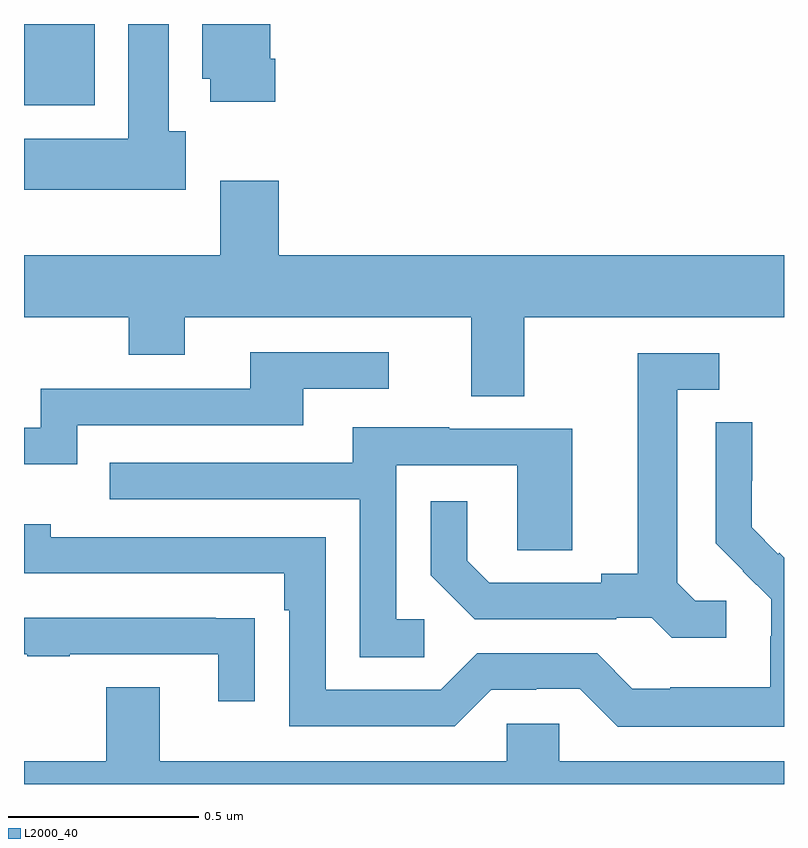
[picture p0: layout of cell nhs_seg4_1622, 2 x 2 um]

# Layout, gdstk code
import gdstk
lib = gdstk.Library(unit=1e-6, precision=1e-09)
def R(c, l, rs):  # rectangles x0, y0, x1, y1
    for r in rs: c.add(gdstk.rectangle(r[:2], r[2:], *l))
def P(c, l, *ps):  # polygons
    for p in ps: c.add(gdstk.Polygon(p, *l))
L2000_40 = (2000, 40)

nhs_seg4_1622 = lib.new_cell('nhs_seg4_1622')
R(nhs_seg4_1622, L2000_40, [(130,822.686,130.186,822.9)])
P(nhs_seg4_1622, L2000_40, [(130.661,822.808),(130.648,822.808),(130.648,822.9),(130.469,822.9),(130.469,822.756),(130.49,822.756),(130.49,822.696),(130.661,822.696)],
  [(130.426,822.618),(130.381,822.618),(130.381,822.9),(130.274,822.9),(130.274,822.598),(130,822.598),(130,822.464),(130.426,822.464)],
  [(131.317,822.128),(132,822.128),(132,822.292),(130.67,822.292),(130.67,822.487),(130.517,822.487),(130.517,822.292),(130,822.292),(130,822.128),(130.276,822.128),(130.276,822.029),(130.423,822.029),(130.423,822.128),(131.177,822.128),(131.177,821.92),(131.317,821.92)],
  [(130.14,821.844),(130.735,821.844),(130.735,821.94),(130.96,821.94),(130.96,822.036),(130.595,822.036),(130.595,821.94),(130.044,821.94),(130.044,821.838),(130,821.838),(130,821.741),(130.14,821.741)],
  [(131.848,821.382),(131.766,821.382),(131.719,821.429),(131.719,821.937),(131.83,821.937),(131.83,822.033),(131.615,822.033),(131.615,821.453),(131.519,821.453),(131.519,821.43),(131.224,821.43),(131.167,821.487),(131.167,821.644),(131.07,821.644),(131.07,821.45),(131.186,821.334),(131.558,821.334),(131.558,821.337),(131.652,821.337),(131.704,821.285),(131.848,821.285)],
  [(132,821.496),(131.988,821.508),(131.985,821.505),(131.915,821.576),(131.915,821.698),(131.916,821.698),(131.916,821.852),(131.82,821.852),(131.82,821.534),(131.893,821.461),(131.892,821.46),(131.966,821.386),(131.966,821.289),(131.964,821.289),(131.964,821.155),(131.701,821.155),(131.701,821.151),(131.601,821.151),(131.508,821.244),(131.193,821.244),(131.097,821.148),(130.794,821.148),(130.794,821.55),(130.07,821.55),(130.07,821.584),(130,821.584),(130,821.454),(130.685,821.454),(130.685,821.357),(130.698,821.357),(130.698,821.052),(131.133,821.052),(131.229,821.148),(131.348,821.148),(131.348,821.151),(131.463,821.151),(131.563,821.051),(132,821.051)],
  [(131.053,821.334),(130.98,821.334),(130.98,821.739),(131.298,821.739),(131.298,821.515),(131.443,821.515),(131.443,821.835),(131.119,821.835),(131.119,821.839),(130.865,821.839),(130.865,821.745),(130.225,821.745),(130.225,821.649),(130.884,821.649),(130.884,821.233),(131.053,821.233)],
  [(130.607,821.336),(130.505,821.336),(130.505,821.337),(130,821.337),(130,821.241),(130.009,821.241),(130.009,821.236),(130.121,821.236),(130.121,821.241),(130.511,821.241),(130.511,821.118),(130.607,821.118)],
  [(132,820.96),(131.409,820.96),(131.409,821.058),(131.271,821.058),(131.271,820.96),(130.357,820.96),(130.357,821.155),(130.217,821.155),(130.217,820.96),(130,820.96),(130,820.9),(132,820.9)])

lib.write_gds('nhs_seg4_1622.gds')
